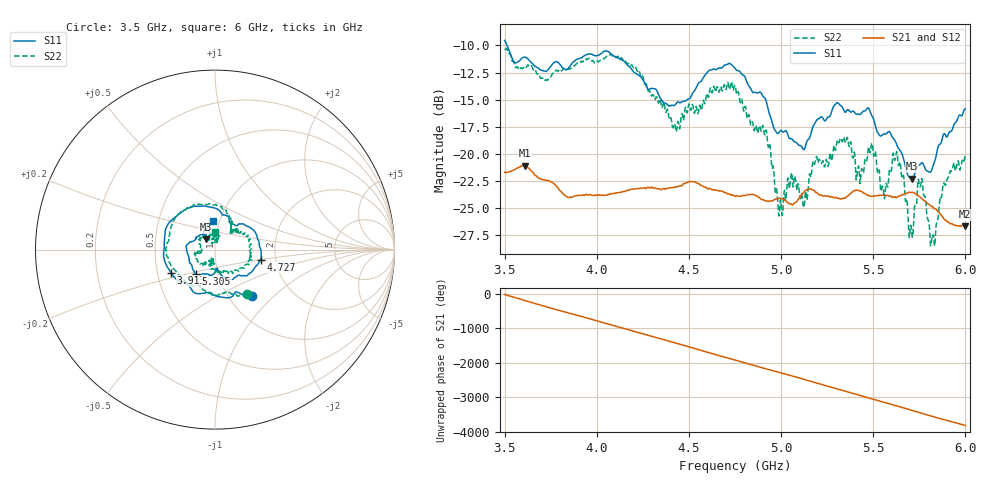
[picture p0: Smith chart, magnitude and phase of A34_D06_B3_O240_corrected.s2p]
! Created with skrf 1.9.0 (http://scikit-rf.org).
# Hz S RI R 50.0
!freq ReS11 ImS11 ReS21 ImS21 ReS12 ImS12 ReS22 ImS22
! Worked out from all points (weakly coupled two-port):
!   1601 points, 3.5 GHz to 6 GHz, reference 50 ohm
!   highest |S21| = -21.10 dB at 3.609 GHz (marker M1); lowest = -26.7 dB at 5.997 GHz (marker M2)
!   lowest |S11| = -22.3 dB at 5.711 GHz (marker M3), VSWR 1.17, Z = 44.9 + j5.19 ohm
!   |S11| at or under -10 dB: 3.514 GHz to end of sweep
!   |S22| runs from -28.5 to -10.3 dB; largest |S21 - S12| = 0.00092
!   S11 on the Smith chart (normalised r, x): 3.5 GHz: 1.28, -0.75; 3.913 GHz: 0.59, -0.17; 4.727 GHz: 1.66, -0.20; 5.305 GHz: 0.78, -0.22; 6 GHz: 0.93, +0.31
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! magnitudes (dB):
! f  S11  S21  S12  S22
! 3.5 GHz  -9.5  -21.7  -21.7  -10.3
! 3.609 GHz  -11.1  -21.1  -21.1  -11.9
! 3.913 GHz  -11.2  -23.8  -23.8  -11.5
! 3.917 GHz  -11.1  -23.9  -23.8  -11.5
! 4.125 GHz  -11.2  -23.5  -23.5  -11.3
! 4.334 GHz  -14.5  -23.2  -23.2  -15.3
! 4.423 GHz  -15.5  -23.1  -23.1  -17.3
! 4.727 GHz  -11.7  -23.8  -23.7  -13.6
! 4.75 GHz  -12.1  -23.9  -23.8  -13.7
! 4.912 GHz  -14.9  -24.3  -24.3  -18.2
! 4.997 GHz  -17.8  -24.1  -24.1  -24.2
! 5.13 GHz  -19.5  -23.4  -23.4  -23.9
! 5.167 GHz  -17.8  -23.3  -23.2  -21.4
! 5.305 GHz  -15.3  -24.1  -24.0  -18.8
! 5.584 GHz  -17.9  -23.9  -23.8  -22.1
! 5.636 GHz  -19.5  -23.9  -23.8  -21.0
! 5.711 GHz  -22.3  -23.5  -23.5  -27.6
! 5.755 GHz  -21.0  -24.0  -23.9  -23.0
! 5.823 GHz  -21.2  -24.9  -24.9  -27.6
! 5.888 GHz  -18.1  -26.1  -26.0  -22.8
! 5.997 GHz  -15.9  -26.7  -26.6  -20.4
! 6 GHz  -15.9  -26.7  -26.6  -20.0
